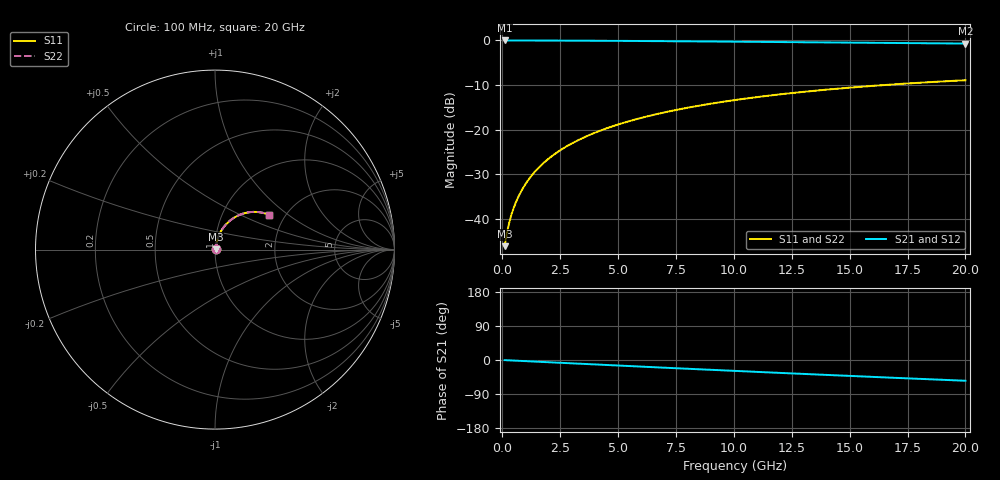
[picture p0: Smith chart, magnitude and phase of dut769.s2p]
! Touchstone file exported from HFSS 2026.1.0
!  File:  C:/ffzhzh/LocalFiles/Ansys_Project_Files/temp_train_BSMRDL_769_1783169159_43440.aedt
!  Generated:  08:47:19 PM Jul  4, 2026
!  Design:  BSMRDL
!  Project:  temp_train_BSMRDL_769_1783169159_43440
! Variables:
!  h_bsmrdl = 3.44um
!  h_ox = 20um
!  h_rdl = 5um
!  h_sub = 80um
!  h_tmrdl = 5um
!  h_tsv = 80um
!  h_via = 3um
!  l_bsmrdl = 895.5um
!  l_sub = 1295.5um
!  l_tmrdl = 200um
!  m_sub = 200um
!  pitch = 40.95um
!  r_tsv = 6um
!  s_tmrdl = 10um
!  w_bsmrdl = 23.89um
!  w_sub = 500um
!  w_tmrdl = 12um
!  x_tsv_center1 = 206um
!  x_tsv_center2 = 1125.39um
!  x_tsv_center3 = 1337.39um
!  x_tsv_center4 = 2256.78um
!  x_tsv_center5 = 2468.78um
!  x_tsv_center6 = 3388.17um
# GHz S MA R 50.000000
! Terminal data exported
! Port[1] = BSM_RDL1_1_T1
! Port[2] = BSM_RDL1_1_T2
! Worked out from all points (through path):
!   200 points, 100 MHz to 20 GHz, reference 50 ohm
!   highest |S21| = -0.04 dB at 100 MHz (marker M1); lowest = -0.7 dB at 20 GHz (marker M2)
!   group delay of S21, straight-line fit = 7.6 ps
!   lowest |S11| = -46.1 dB at 100 MHz (marker M3), VSWR 1.01, Z = 50.4 + j0.277 ohm
!   |S11| at or under -10 dB: start of sweep to 16.55 GHz
!   |S22| runs from -46.1 to -8.9 dB; largest |S21 - S12| = 2.7e-15
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0.1  0.004942 33.7  0.9959 -0.3  0.9959 -0.3  0.004942 33.7
! Gamma 0 0 0 0
! Port Impedance 50 0 50 0
0.2  0.006929 50.2  0.9956 -0.6  0.9956 -0.6  0.006929 50.2
0.3  0.009096 58.2  0.9953 -0.9  0.9953 -0.9  0.009096 58.2
0.4  0.01127 63.0  0.9951 -1.2  0.9951 -1.2  0.01127 63.0
0.5  0.01344 66.3  0.9948 -1.5  0.9948 -1.5  0.01344 66.3
0.6  0.01561 68.7  0.9947 -1.8  0.9947 -1.8  0.01561 68.7
0.8  0.02002 72.0  0.9944 -2.4  0.9944 -2.4  0.02002 72.0
1.1  0.02674 74.7  0.9941 -3.3  0.9941 -3.3  0.02674 74.7
1.3  0.03126 75.7  0.9939 -3.9  0.9939 -3.9  0.03126 75.7
1.6  0.03808 76.5  0.9935 -4.7  0.9935 -4.7  0.03808 76.5
2.1  0.04948 76.8  0.9927 -6.2  0.9927 -6.2  0.04948 76.8
2.7  0.06311 76.2  0.9916 -8.0  0.9916 -8.0  0.06311 76.2
3.5  0.0811 74.8  0.9898 -10.3  0.9898 -10.3  0.0811 74.8
4.2  0.0966 73.2  0.9879 -12.3  0.9879 -12.3  0.0966 73.2
5  0.114 71.3  0.9854 -14.6  0.9854 -14.6  0.114 71.3
5.9  0.1331 69.0  0.9823 -17.2  0.9823 -17.2  0.1331 69.0
6.8  0.1517 66.6  0.9789 -19.8  0.9789 -19.8  0.1517 66.7
8.3  0.1815 62.7  0.9727 -24.0  0.9727 -24.0  0.1815 62.7
10.1  0.2152 57.9  0.9648 -28.9  0.9648 -28.9  0.2152 58.0
13.4  0.2708 49.4  0.9493 -37.8  0.9493 -37.8  0.2708 49.5
16.7  0.3182 41.1  0.9337 -46.4  0.9337 -46.4  0.3181 41.2
20  0.357 33.0  0.9192 -54.8  0.9192 -54.8  0.357 33.1
